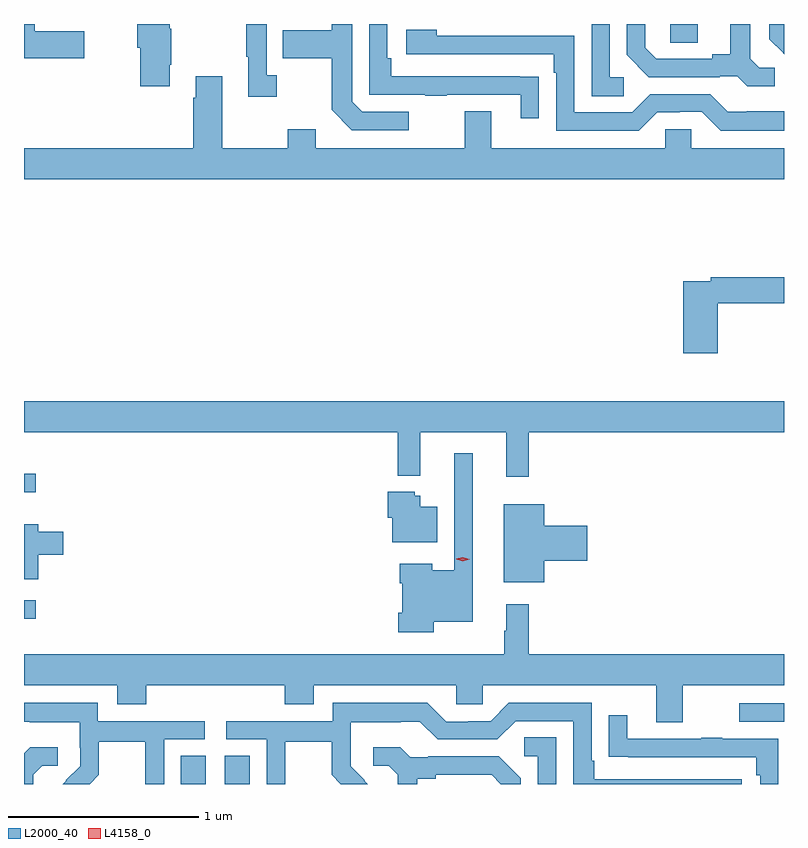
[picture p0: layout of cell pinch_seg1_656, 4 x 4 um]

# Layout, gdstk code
import gdstk
lib = gdstk.Library(unit=1e-6, precision=1e-09)
def R(c, l, rs):  # rectangles x0, y0, x1, y1
    for r in rs: c.add(gdstk.rectangle(r[:2], r[2:], *l))
def P(c, l, *ps):  # polygons
    for p in ps: c.add(gdstk.Polygon(p, *l))
L2000_40 = (2000, 40)
L4158_0 = (4158, 0)

pinch_seg1_656 = lib.new_cell('pinch_seg1_656')
R(pinch_seg1_656, L2000_40, [(854.441,575.189,854.572,575.339), (854.672,575.189,854.803,575.339), (857.379,575.517,857.615,575.613), (853.615,576.059,853.678,576.156), (853.615,576.725,853.678,576.822), (857.016,579.091,857.161,579.189)])
P(pinch_seg1_656, L2000_40, [(857.566,578.958),(857.484,578.958),(857.437,579.005),(857.437,579.189),(857.333,579.189),(857.333,579.029),(857.237,579.029),(857.237,579.006),(856.942,579.006),(856.885,579.063),(856.885,579.189),(856.788,579.189),(856.788,579.026),(856.904,578.91),(857.276,578.91),(857.276,578.913),(857.37,578.913),(857.422,578.861),(857.566,578.861)],
  [(856.325,578.912),(856.223,578.912),(856.223,578.913),(855.548,578.913),(855.548,579.01),(855.528,579.01),(855.528,579.189),(855.432,579.189),(855.432,578.817),(855.727,578.817),(855.727,578.812),(855.839,578.812),(855.839,578.817),(856.229,578.817),(856.229,578.694),(856.325,578.694)],
  [(854.383,578.974),(854.391,578.974),(854.391,579.163),(854.383,579.163),(854.383,579.189),(854.21,579.189),(854.21,579.063),(854.228,579.063),(854.228,578.862),(854.383,578.862)],
  [(854.944,578.918),(854.892,578.918),(854.892,579.189),(854.784,579.189),(854.784,579.017),(854.795,579.017),(854.795,578.805),(854.944,578.805)],
  [(855.64,578.727),(855.396,578.727),(855.342,578.781),(855.342,579.189),(855.234,579.189),(855.234,579.157),(854.977,579.157),(854.977,579.01),(855.234,579.01),(855.234,578.737),(855.339,578.631),(855.64,578.631)],
  [(856.771,578.91),(856.698,578.91),(856.698,579.189),(856.602,579.189),(856.602,578.809),(856.771,578.809)],
  [(857.615,579.189),(857.538,579.189),(857.538,579.11),(857.611,579.037),(857.61,579.036),(857.615,579.031)],
  [(853.933,579.152),(853.672,579.152),(853.672,579.188),(853.615,579.188),(853.615,579.01),(853.933,579.01)],
  [(857.615,578.731),(857.419,578.731),(857.419,578.727),(857.319,578.727),(857.226,578.82),(856.911,578.82),(856.815,578.724),(856.512,578.724),(856.512,579.126),(855.788,579.126),(855.788,579.16),(855.627,579.16),(855.627,579.03),(856.403,579.03),(856.403,578.933),(856.416,578.933),(856.416,578.628),(856.851,578.628),(856.947,578.724),(857.066,578.724),(857.066,578.727),(857.181,578.727),(857.281,578.627),(857.615,578.627)],
  [(857.615,578.536),(857.127,578.536),(857.127,578.634),(856.989,578.634),(856.989,578.536),(856.075,578.536),(856.075,578.731),(855.935,578.731),(855.935,578.536),(855.151,578.536),(855.151,578.635),(855.004,578.635),(855.004,578.536),(854.659,578.536),(854.659,578.914),(854.519,578.914),(854.519,578.801),(854.507,578.801),(854.507,578.536),(853.615,578.536),(853.615,578.372),(857.615,578.372)],
  [(857.267,577.72),(857.615,577.72),(857.615,577.856),(857.23,577.856),(857.23,577.836),(857.084,577.836),(857.084,577.455),(857.267,577.455)],
  [(856.271,577.04),(857.615,577.04),(857.615,577.204),(853.615,577.204),(853.615,577.04),(855.583,577.04),(855.583,576.812),(855.701,576.812),(855.701,577.04),(856.154,577.04),(856.154,576.807),(856.271,576.807)],
  [(855.771,576.044),(855.976,576.044),(855.976,576.931),(855.879,576.931),(855.879,576.313),(855.763,576.313),(855.763,576.349),(855.593,576.349),(855.593,576.245),(855.605,576.245),(855.605,576.091),(855.584,576.091),(855.584,575.987),(855.771,575.987)],
  [(855.79,576.649),(855.7,576.649),(855.7,576.705),(855.672,576.705),(855.672,576.727),(855.53,576.727),(855.53,576.591),(855.554,576.591),(855.554,576.461),(855.79,576.461)],
  [(856.354,576.365),(856.579,576.365),(856.579,576.548),(856.354,576.548),(856.354,576.661),(856.139,576.661),(856.139,576.251),(856.354,576.251)],
  [(853.69,576.395),(853.822,576.395),(853.822,576.517),(853.69,576.517),(853.69,576.556),(853.615,576.556),(853.615,576.266),(853.69,576.266)],
  [(857.083,575.708),(857.615,575.708),(857.615,575.872),(856.271,575.872),(856.271,576.136),(856.154,576.136),(856.154,575.996),(856.143,575.996),(856.143,575.872),(853.615,575.872),(853.615,575.708),(854.105,575.708),(854.105,575.609),(854.258,575.609),(854.258,575.708),(854.987,575.708),(854.987,575.609),(855.139,575.609),(855.139,575.708),(855.891,575.708),(855.891,575.61),(856.029,575.61),(856.029,575.708),(856.943,575.708),(856.943,575.514),(857.083,575.514)],
  [(854.991,575.412),(855.235,575.412),(855.235,575.237),(855.283,575.189),(855.425,575.189),(855.407,575.207),(855.408,575.208),(855.334,575.282),(855.334,575.379),(855.336,575.379),(855.336,575.513),(855.599,575.513),(855.599,575.517),(855.699,575.517),(855.792,575.424),(856.107,575.424),(856.203,575.52),(856.506,575.52),(856.506,575.189),(857.392,575.189),(857.392,575.214),(856.615,575.214),(856.615,575.311),(856.602,575.311),(856.602,575.616),(856.167,575.616),(856.071,575.52),(855.953,575.52),(855.953,575.517),(855.837,575.517),(855.737,575.617),(855.24,575.617),(855.24,575.52),(854.679,575.52),(854.679,575.424),(854.892,575.424),(854.892,575.189),(854.991,575.189)],
  [(854.009,575.237),(854.009,575.412),(854.254,575.412),(854.254,575.189),(854.352,575.189),(854.352,575.424),(854.566,575.424),(854.566,575.52),(854.004,575.52),(854.004,575.617),(853.615,575.617),(853.615,575.517),(853.645,575.517),(853.645,575.513),(853.908,575.513),(853.908,575.379),(853.91,575.379),(853.91,575.282),(853.836,575.208),(853.837,575.207),(853.819,575.189),(853.961,575.189)],
  [(857.586,575.427),(857.291,575.427),(857.291,575.432),(857.179,575.432),(857.179,575.427),(856.789,575.427),(856.789,575.551),(856.693,575.551),(856.693,575.332),(856.795,575.332),(856.795,575.331),(857.47,575.331),(857.47,575.234),(857.49,575.234),(857.49,575.189),(857.586,575.189)],
  [(856.416,575.435),(856.248,575.435),(856.248,575.334),(856.32,575.334),(856.32,575.189),(856.416,575.189)],
  [(855.685,575.216),(855.781,575.216),(855.781,575.238),(856.076,575.238),(856.125,575.189),(856.23,575.189),(856.23,575.218),(856.114,575.334),(855.742,575.334),(855.742,575.331),(855.648,575.331),(855.596,575.383),(855.453,575.383),(855.453,575.286),(855.534,575.286),(855.581,575.239),(855.581,575.189),(855.685,575.189)],
  [(853.663,575.239),(853.71,575.286),(853.792,575.286),(853.792,575.383),(853.648,575.383),(853.615,575.35),(853.615,575.189),(853.663,575.189)])
P(pinch_seg1_656, L4158_0, [(855.925,576.362),(855.889,576.373),(855.889,576.374),(855.889,576.374),(855.925,576.382),(855.96,576.371),(855.961,576.371),(855.96,576.371)])

lib.write_gds('pinch_seg1_656.gds')
